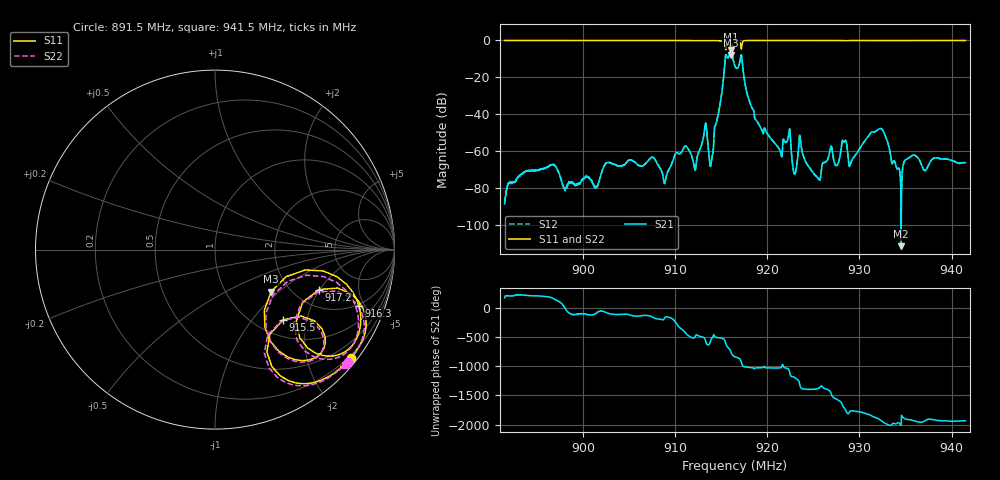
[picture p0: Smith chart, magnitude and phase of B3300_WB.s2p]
! Matrix data file written by TouchstoneData, EPCOS AG
! FILENAME: "wide band unmatched S-parameter"
! COMMENT: "(PCB11_MB.s2p)"
! INFO: nport=2, nfreq=1601
! DATE: "Thu May  8 19:13:16 2014"
! USER: "Andy Zhang"
! port | pin | signal
!  1  |  2  |  input
!  2  |  4  |  output
# MHZ S MA R 50
! freq  magS11 angS11  magS21 angS21  magS12 angS12  magS22 angS22
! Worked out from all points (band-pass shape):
!   1601 points, 891.5 MHz to 941.5 MHz, reference 50 ohm
!   highest |S21| = -5.16 dB at 916.1 MHz (marker M1); lowest = -111.2 dB at 934.5 MHz (marker M2)
!   |S21| within 3 dB of the highest: 915.8877 MHz to 916.2125 MHz (324.7 kHz wide, 0.0355 % of centre); 917.1541 MHz to 917.1977 MHz (43.57 kHz wide, 0.00475 % of centre) (the widest 2 of 3)
!   lowest |S11| = -8.2 dB at 916.1 MHz (marker M3), VSWR 2.28, Z = 80.6 - j44.4 ohm
!   |S11| at or under -10 dB: nowhere
!   |S22| runs from -7.7 to -0.3 dB; largest |S21 - S12| = 0.00072
!   S11 on the Smith chart (normalised r, x): 891.5 MHz: 0.15, -2.84; 915.5 MHz: 1.31, -1.46; 916.3 MHz: 1.84, -4.56; 917.2 MHz: 2.72, -1.97; 941.5 MHz: 0.14, -2.73
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891.5  0.9681 -38.7  3.809e-05 169.7  4.157e-05 168.5  0.9683 -40.1
896.625  0.9679 -39.1  0.0004314 169.7  0.0004371 170.2  0.9681 -40.5
899.8438  0.9677 -39.3  0.00016 -99.9  0.0001577 -103.4  0.968 -40.7
908.1875  0.9664 -40.3  0.0004159 167.3  0.0004111 167.0  0.9671 -41.7
908.9375  0.966 -40.5  0.0001524 -160.0  0.000155 -162.8  0.9668 -41.9
911.1562  0.9644 -41.2  0.001374 -75.6  0.001375 -75.6  0.9652 -42.5
912.1562  0.9647 -41.8  0.0003102 -135.6  0.0003072 -137.6  0.9654 -43.1
913.25  0.9595 -42.9  0.00488 -177.6  0.004892 -177.5  0.9608 -44.3
913.9062  0.961 -43.8  0.0004657 -179.7  0.0004787 179.8  0.9618 -45.2
915.5  0.5453 -45.8  0.401 109.3  0.4014 109.3  0.5421 -47.0
916.0625  0.3909 -36.7  0.5518 -34.9  0.5525 -34.9  0.4111 -38.0
916.3125  0.863 -21.5  0.2852 -102.7  0.2854 -102.7  0.8652 -23.6
916.5  0.9234 -29.5  0.1958 -118.2  0.1959 -118.2  0.9241 -31.3
917.2188  0.6215 -21.0  0.3734 131.2  0.3739 131.2  0.619 -22.5
919.375  0.969 -36.4  0.003944 54.9  0.003938 55.0  0.9696 -37.9
923.625  0.9675 -38.4  0.001768 78.5  0.001773 78.6  0.9676 -39.9
924.8438  0.9682 -38.8  0.0002926 44.8  0.0002871 44.3  0.9683 -40.3
932.1562  0.9611 -39.6  0.004008 -107.4  0.004004 -107.5  0.9613 -41.1
933.1875  0.9618 -39.4  0.001378 155.3  0.001371 155.2  0.9623 -40.9
934.5312  0.9645 -39.4  2.754e-06 147.9  6.314e-06 123.8  0.9644 -41.0
935.8438  0.9669 -39.6  0.0007869 -128.7  0.000782 -128.5  0.967 -41.2
941.5  0.9675 -40.1  0.0004912 -132.4  0.0004931 -132.4  0.9677 -41.7
